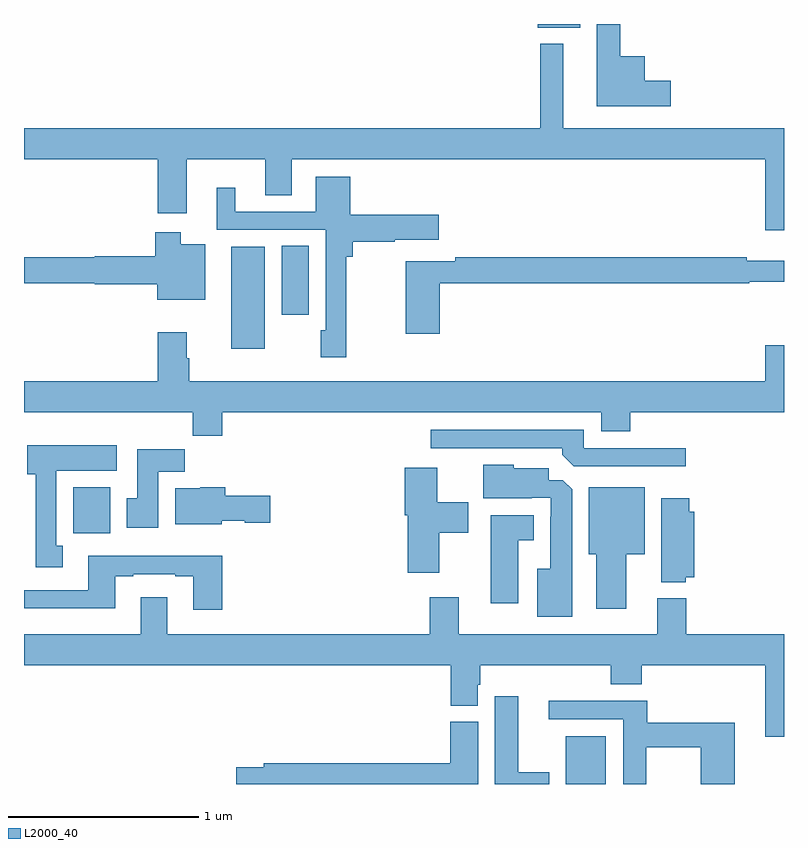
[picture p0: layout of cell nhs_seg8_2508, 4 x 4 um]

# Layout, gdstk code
import gdstk
lib = gdstk.Library(unit=1e-6, precision=1e-09)
def R(c, l, rs):  # rectangles x0, y0, x1, y1
    for r in rs: c.add(gdstk.rectangle(r[:2], r[2:], *l))
def P(c, l, *ps):  # polygons
    for p in ps: c.add(gdstk.Polygon(p, *l))
L2000_40 = (2000, 40)

nhs_seg8_2508 = lib.new_cell('nhs_seg8_2508')
R(nhs_seg8_2508, L2000_40, [(271.85,1091.9,272.062,1092.151), (269.258,1093.22,269.455,1093.462), (270.092,1094.192,270.268,1094.728), (270.356,1094.37,270.499,1094.732), (271.704,1095.881,271.927,1095.9)])
P(nhs_seg8_2508, L2000_40, [(272.404,1095.602),(272.266,1095.602),(272.266,1095.73),(272.137,1095.73),(272.137,1095.9),(272.015,1095.9),(272.015,1095.467),(272.404,1095.467)],
  [(273,1095.352),(271.837,1095.352),(271.837,1095.796),(271.716,1095.796),(271.716,1095.352),(269,1095.352),(269,1095.188),(269.705,1095.188),(269.705,1094.904),(269.857,1094.904),(269.857,1095.188),(270.269,1095.188),(270.269,1094.998),(270.409,1094.998),(270.409,1095.188),(272.9,1095.188),(272.9,1094.814),(273,1094.814)],
  [(270.697,1094.675),(270.731,1094.675),(270.731,1094.753),(270.95,1094.753),(270.95,1094.765),(271.183,1094.765),(271.183,1094.895),(270.718,1094.895),(270.718,1095.097),(270.536,1095.097),(270.536,1094.913),(270.112,1094.913),(270.112,1095.037),(270.014,1095.037),(270.014,1094.817),(270.588,1094.817),(270.588,1094.289),(270.562,1094.289),(270.562,1094.145),(270.697,1094.145)],
  [(269.953,1094.74),(269.824,1094.74),(269.824,1094.803),(269.69,1094.803),(269.69,1094.678),(269.373,1094.678),(269.373,1094.672),(269,1094.672),(269,1094.536),(269.373,1094.536),(269.373,1094.531),(269.702,1094.531),(269.702,1094.45),(269.953,1094.45)],
  [(271.187,1094.536),(272.818,1094.536),(272.818,1094.544),(273,1094.544),(273,1094.653),(272.804,1094.653),(272.804,1094.672),(271.27,1094.672),(271.27,1094.652),(271.009,1094.652),(271.009,1094.271),(271.187,1094.271)],
  [(270.044,1093.856),(272.039,1093.856),(272.039,1093.757),(272.192,1093.757),(272.192,1093.856),(273,1093.856),(273,1094.209),(272.9,1094.209),(272.9,1094.02),(269.87,1094.02),(269.87,1094.141),(269.857,1094.141),(269.857,1094.278),(269.705,1094.278),(269.705,1094.02),(269,1094.02),(269,1093.856),(269.887,1093.856),(269.887,1093.732),(270.044,1093.732)],
  [(272.482,1093.668),(271.947,1093.668),(271.947,1093.764),(271.14,1093.764),(271.14,1093.668),(271.832,1093.668),(271.832,1093.634),(271.893,1093.572),(272.482,1093.572)],
  [(269.203,1093.154),(269.17,1093.154),(269.17,1093.55),(269.488,1093.55),(269.488,1093.684),(269.018,1093.684),(269.018,1093.53),(269.063,1093.53),(269.063,1093.041),(269.203,1093.041)],
  [(269.707,1093.544),(269.846,1093.544),(269.846,1093.663),(269.597,1093.663),(269.597,1093.404),(269.54,1093.404),(269.54,1093.248),(269.707,1093.248)],
  [(271.885,1093.451),(271.836,1093.5),(271.762,1093.5),(271.762,1093.561),(271.578,1093.561),(271.578,1093.579),(271.418,1093.579),(271.418,1093.403),(271.673,1093.403),(271.673,1093.407),(271.773,1093.407),(271.773,1093.307),(271.769,1093.307),(271.769,1093.033),(271.7,1093.033),(271.7,1092.779),(271.885,1092.779)],
  [(271.186,1093.222),(271.339,1093.222),(271.339,1093.384),(271.174,1093.384),(271.174,1093.564),(271.004,1093.564),(271.004,1093.315),(271.019,1093.315),(271.019,1093.011),(271.186,1093.011)],
  [(270.042,1093.286),(270.162,1093.286),(270.162,1093.274),(270.295,1093.274),(270.295,1093.416),(270.059,1093.416),(270.059,1093.462),(269.928,1093.462),(269.928,1093.456),(269.795,1093.456),(269.795,1093.268),(270.042,1093.268)],
  [(272.17,1093.109),(272.266,1093.109),(272.266,1093.462),(271.973,1093.462),(271.973,1093.109),(272.012,1093.109),(272.012,1092.822),(272.17,1092.822)],
  [(272.484,1092.989),(272.527,1092.989),(272.527,1093.333),(272.501,1093.333),(272.501,1093.405),(272.354,1093.405),(272.354,1092.962),(272.484,1092.962)],
  [(271.6,1093.184),(271.684,1093.184),(271.684,1093.315),(271.457,1093.315),(271.457,1092.852),(271.6,1092.852)],
  [(270.044,1093.102),(269.339,1093.102),(269.339,1092.921),(269,1092.921),(269,1092.824),(269.479,1092.824),(269.479,1092.993),(269.575,1092.993),(269.575,1093.005),(269.795,1093.005),(269.795,1092.993),(269.891,1092.993),(269.891,1092.816),(270.044,1092.816)],
  [(273,1092.688),(272.486,1092.688),(272.486,1092.877),(272.333,1092.877),(272.333,1092.688),(271.288,1092.688),(271.288,1092.883),(271.136,1092.883),(271.136,1092.688),(269.755,1092.688),(269.755,1092.883),(269.615,1092.883),(269.615,1092.688),(269,1092.688),(269,1092.524),(271.247,1092.524),(271.247,1092.313),(271.387,1092.313),(271.387,1092.423),(271.4,1092.423),(271.4,1092.524),(272.087,1092.524),(272.087,1092.425),(272.252,1092.425),(272.252,1092.524),(272.9,1092.524),(272.9,1092.15),(273,1092.15)],
  [(271.765,1091.962),(271.6,1091.962),(271.6,1092.361),(271.478,1092.361),(271.478,1091.9),(271.765,1091.9)],
  [(272.274,1092.094),(272.563,1092.094),(272.563,1091.9),(272.741,1091.9),(272.741,1092.223),(272.279,1092.223),(272.279,1092.338),(271.761,1092.338),(271.761,1092.24),(272.153,1092.24),(272.153,1091.9),(272.274,1091.9)],
  [(271.39,1092.228),(271.244,1092.228),(271.244,1092.008),(270.262,1092.008),(270.262,1091.988),(270.116,1091.988),(270.116,1091.9),(271.39,1091.9)])

lib.write_gds('nhs_seg8_2508.gds')
